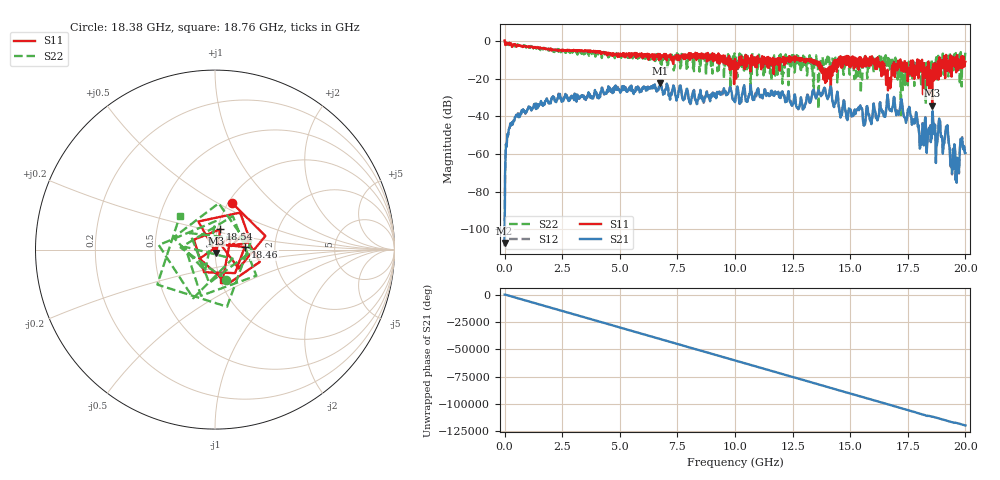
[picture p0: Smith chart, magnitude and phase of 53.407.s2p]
! Created with skrf 1.9.0 (http://scikit-rf.org).
# Hz S RI R 50.0
!freq ReS11 ImS11 ReS21 ImS21 ReS12 ImS12 ReS22 ImS22
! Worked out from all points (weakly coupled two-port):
!   1001 points, 1 MHz to 20 GHz, reference 50 ohm
!   highest |S21| = -22.37 dB at 6.761 GHz (marker M1); lowest = -107.2 dB at 1 MHz (marker M2)
!   lowest |S11| = -34.3 dB at 18.56 GHz (marker M3), VSWR 1.04, Z = 50.7 - j1.84 ohm
!   |S11| at or under -10 dB: 13.36 GHz to 14.32 GHz (957.6 MHz wide, 6.92 % of centre); 16.22 GHz to 17.16 GHz (940.2 MHz wide, 5.63 % of centre); 18.12 GHz to 18.87 GHz (751.6 MHz wide, 4.06 % of centre) (the widest 3 of 101)
!   |S22| runs from -39.8 to -0.2 dB; largest |S21 - S12| = 0.0078
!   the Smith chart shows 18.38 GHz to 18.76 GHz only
!   S11 on the Smith chart (normalised r, x): 18.38 GHz: 1.04, +0.59; 18.46 GHz: 1.40, +0.04; 18.54 GHz: 1.03, +0.24; 18.76 GHz: 1.03, -0.36
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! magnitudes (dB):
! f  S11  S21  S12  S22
! 1 MHz  0.4  -107.2  -108.9  -0.2
! 161 MHz  -1.5  -49.5  -49.5  -1.8
! 481 MHz  -1.8  -40.3  -39.9  -2.6
! 3.341 GHz  -4.8  -28.7  -28.9  -6.7
! 6.681 GHz  -7.4  -25.9  -25.5  -8.3
! 6.761 GHz  -9.1  -22.4  -22.6  -10.0
! 10 GHz  -9.5  -32.4  -32.8  -7.2
! 13.34 GHz  -11.0  -28.7  -28.3  -14.8
! 13.94 GHz  -14.8  -27.4  -27.7  -9.9
! 15.6 GHz  -9.1  -44.8  -44.8  -13.3
! 16.68 GHz  -23.0  -35.4  -35.4  -9.2
! 17.28 GHz  -11.8  -35.8  -35.9  -26.0
! 18.38 GHz  -11.1  -47.5  -47.3  -15.0
! 18.46 GHz  -15.6  -49.0  -48.3  -11.4
! 18.54 GHz  -18.6  -51.7  -51.5  -10.1
! 18.56 GHz  -34.3  -39.6  -39.7  -16.0
! 18.76 GHz  -15.2  -55.4  -55.2  -11.3
! 19.2 GHz  -15.7  -45.6  -45.3  -10.3
! 19.4 GHz  -18.8  -63.9  -63.4  -9.1
! 19.64 GHz  -7.5  -61.9  -61.9  -12.3
! 19.86 GHz  -14.4  -51.4  -51.0  -8.4
! 20 GHz  -10.9  -59.4  -58.7  -6.1
